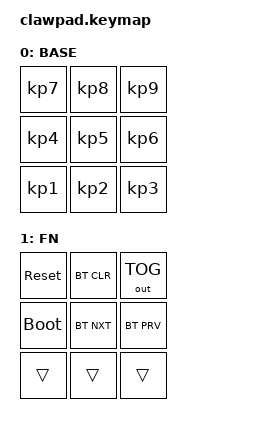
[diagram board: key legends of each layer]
#include <behaviors.dtsi>
#include <dt-bindings/zmk/keys.h>
#include <dt-bindings/zmk/bt.h>
#include <dt-bindings/zmk/outputs.h>

#define BASE 0
#define FN   1

/ {
    keymap {
        compatible = "zmk,keymap";

        base_layer {
            label = "BASE";
// ┏━━━━━━━━━━━┳━━━━━━━━━━━┳━━━━━━━━━━━┓
// ┃     7     ┃     8     ┃     9     ┃
// ┣━━━━━━━━━━━╋━━━━━━━━━━━╋━━━━━━━━━━━┫
// ┃     4     ┃     5     ┃     6     ┃
// ┣━━━━━━━━━━━╋━━━━━━━━━━━╋━━━━━━━━━━━┫
// ┃     1     ┃     2     ┃     3     ┃
// ┗━━━━━━━━━━━┻━━━━━━━━━━━┻━━━━━━━━━━━┛
            bindings = <
                &kp KP_N7   &kp KP_N8   &kp KP_N9
                &kp KP_N4   &kp KP_N5   &kp KP_N6
                &kp KP_N1   &kp KP_N2   &kp KP_N3
            >;
        };

        fn_layer {
            label = "FN";
// ┏━━━━━━━━━━━┳━━━━━━━━━━━┳━━━━━━━━━━━┓
// ┃   RESET   ┃ BT CLEAR  ┃  OUT TOG  ┃
// ┣━━━━━━━━━━━╋━━━━━━━━━━━╋━━━━━━━━━━━┫
// ┃ BOOTLOAD  ┃  BT NEXT  ┃  BT PREV  ┃
// ┣━━━━━━━━━━━╋━━━━━━━━━━━╋━━━━━━━━━━━┫
// ┃   TRANS   ┃   TRANS   ┃   TRANS   ┃
// ┗━━━━━━━━━━━┻━━━━━━━━━━━┻━━━━━━━━━━━┛
            bindings = <
                &sys_reset  &bt BT_CLR  &out OUT_TOG
                &bootloader &bt BT_NXT  &bt BT_PRV
                &trans      &trans      &trans
            >;
        };
    };
};
